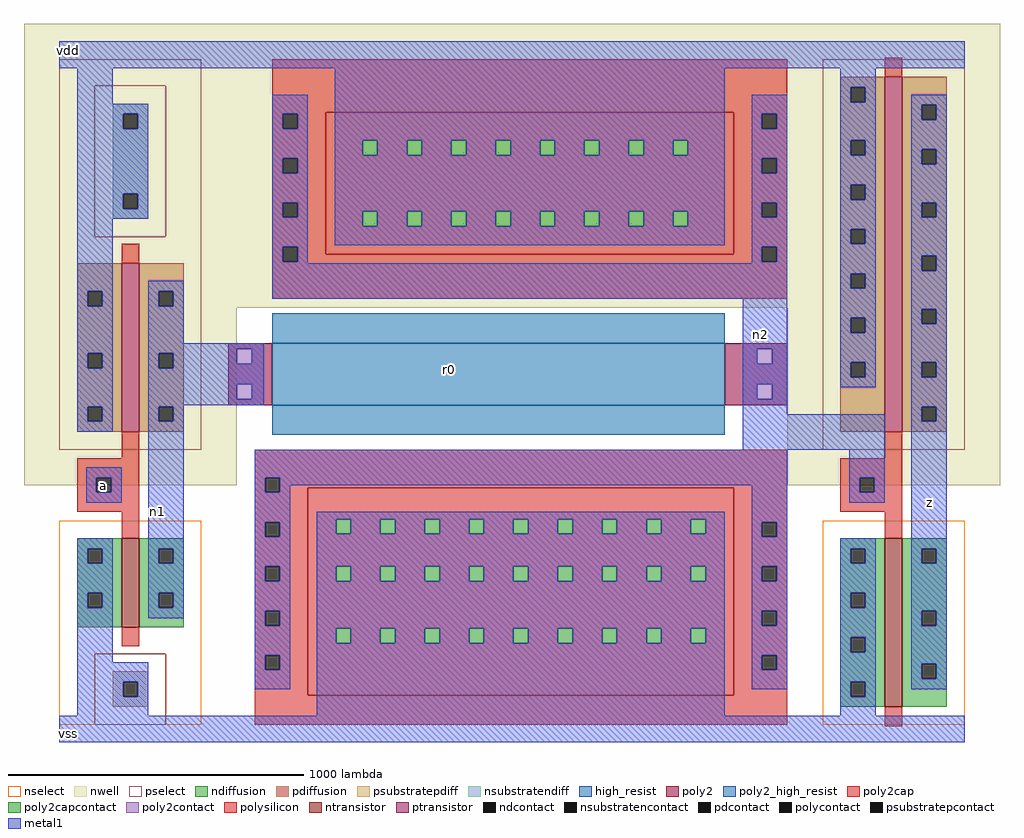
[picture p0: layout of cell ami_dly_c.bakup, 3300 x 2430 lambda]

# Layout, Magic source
magic
tech amic5n
<< nwell >>
rect -120 1470 3180 2430
rect -120 870 600 1470
rect 2460 870 3180 1470
<< ntransistor >>
rect 210 390 270 690
rect 2790 120 2850 690
<< ptransistor >>
rect 210 1050 270 1620
rect 2790 1050 2850 2250
<< nselect >>
rect 120 1710 360 2220
rect 0 300 480 750
rect 0 60 120 300
rect 360 60 480 300
rect 2580 60 3060 750
<< pselect >>
rect 0 2220 480 2310
rect 0 1710 120 2220
rect 360 1710 480 2220
rect 0 990 480 1710
rect 2580 990 3060 2310
rect 120 60 360 300
<< ndiffusion >>
rect 60 655 210 690
rect 60 605 95 655
rect 145 605 210 655
rect 60 505 210 605
rect 60 455 95 505
rect 145 455 210 505
rect 60 390 210 455
rect 270 655 420 690
rect 270 605 335 655
rect 385 605 420 655
rect 270 505 420 605
rect 270 455 335 505
rect 385 455 420 505
rect 270 390 420 455
rect 2640 655 2790 690
rect 2640 605 2675 655
rect 2725 605 2790 655
rect 2640 505 2790 605
rect 2640 455 2675 505
rect 2725 455 2790 505
rect 2640 355 2790 455
rect 2640 305 2675 355
rect 2725 305 2790 355
rect 2640 205 2790 305
rect 2640 155 2675 205
rect 2725 155 2790 205
rect 2640 120 2790 155
rect 2850 655 3000 690
rect 2850 605 2915 655
rect 2965 605 3000 655
rect 2850 445 3000 605
rect 2850 395 2915 445
rect 2965 395 3000 445
rect 2850 265 3000 395
rect 2850 215 2915 265
rect 2965 215 3000 265
rect 2850 120 3000 215
<< pdiffusion >>
rect 60 1525 210 1620
rect 60 1475 95 1525
rect 145 1475 210 1525
rect 60 1315 210 1475
rect 60 1265 95 1315
rect 145 1265 210 1315
rect 60 1135 210 1265
rect 60 1085 95 1135
rect 145 1085 210 1135
rect 60 1050 210 1085
rect 270 1525 420 1620
rect 270 1475 335 1525
rect 385 1475 420 1525
rect 2640 2215 2790 2250
rect 2640 2165 2675 2215
rect 2725 2165 2790 2215
rect 2640 2035 2790 2165
rect 2640 1985 2675 2035
rect 2725 1985 2790 2035
rect 2640 1885 2790 1985
rect 2640 1835 2675 1885
rect 2725 1835 2790 1885
rect 2640 1735 2790 1835
rect 2640 1685 2675 1735
rect 2725 1685 2790 1735
rect 2640 1585 2790 1685
rect 2640 1535 2675 1585
rect 2725 1535 2790 1585
rect 270 1315 420 1475
rect 2640 1435 2790 1535
rect 2640 1385 2675 1435
rect 2725 1385 2790 1435
rect 270 1265 335 1315
rect 385 1265 420 1315
rect 270 1135 420 1265
rect 2640 1285 2790 1385
rect 2640 1235 2675 1285
rect 2725 1235 2790 1285
rect 270 1085 335 1135
rect 385 1085 420 1135
rect 270 1050 420 1085
rect 2640 1050 2790 1235
rect 2850 2155 3000 2250
rect 2850 2105 2915 2155
rect 2965 2105 3000 2155
rect 2850 2005 3000 2105
rect 2850 1955 2915 2005
rect 2965 1955 3000 2005
rect 2850 1825 3000 1955
rect 2850 1775 2915 1825
rect 2965 1775 3000 1825
rect 2850 1645 3000 1775
rect 2850 1595 2915 1645
rect 2965 1595 3000 1645
rect 2850 1465 3000 1595
rect 2850 1415 2915 1465
rect 2965 1415 3000 1465
rect 2850 1285 3000 1415
rect 2850 1235 2915 1285
rect 2965 1235 3000 1285
rect 2850 1135 3000 1235
rect 2850 1085 2915 1135
rect 2965 1085 3000 1135
rect 2850 1050 3000 1085
<< psubstratepdiff >>
rect 180 205 300 240
rect 180 155 215 205
rect 265 155 300 205
rect 180 120 300 155
<< nsubstratendiff >>
rect 180 2125 300 2160
rect 180 2075 215 2125
rect 265 2075 300 2125
rect 180 1855 300 2075
rect 180 1805 215 1855
rect 265 1805 300 1855
rect 180 1770 300 1805
<< nsubstratencontact >>
rect 215 2075 265 2125
rect 215 1805 265 1855
<< psubstratepcontact >>
rect 215 155 265 205
<< ndcontact >>
rect 95 605 145 655
rect 95 455 145 505
rect 335 605 385 655
rect 335 455 385 505
rect 2675 605 2725 655
rect 2675 455 2725 505
rect 2675 305 2725 355
rect 2675 155 2725 205
rect 2915 605 2965 655
rect 2915 395 2965 445
rect 2915 215 2965 265
<< pdcontact >>
rect 95 1475 145 1525
rect 95 1265 145 1315
rect 95 1085 145 1135
rect 335 1475 385 1525
rect 2675 2165 2725 2215
rect 2675 1985 2725 2035
rect 2675 1835 2725 1885
rect 2675 1685 2725 1735
rect 2675 1535 2725 1585
rect 2675 1385 2725 1435
rect 335 1265 385 1315
rect 2675 1235 2725 1285
rect 335 1085 385 1135
rect 2915 2105 2965 2155
rect 2915 1955 2965 2005
rect 2915 1775 2965 1825
rect 2915 1595 2965 1645
rect 2915 1415 2965 1465
rect 2915 1235 2965 1285
rect 2915 1085 2965 1135
<< polysilicon >>
rect 720 2130 2460 2310
rect 2790 2250 2850 2315
rect 720 2125 900 2130
rect 720 2075 755 2125
rect 805 2075 900 2125
rect 720 1975 900 2075
rect 2280 2125 2460 2130
rect 2280 2075 2375 2125
rect 2425 2075 2460 2125
rect 720 1925 755 1975
rect 805 1925 900 1975
rect 720 1825 900 1925
rect 720 1775 755 1825
rect 805 1775 900 1825
rect 2280 1975 2460 2075
rect 2280 1925 2375 1975
rect 2425 1925 2460 1975
rect 2280 1825 2460 1925
rect 210 1620 270 1685
rect 720 1675 900 1775
rect 2280 1775 2375 1825
rect 2425 1775 2460 1825
rect 720 1625 755 1675
rect 805 1650 900 1675
rect 2280 1675 2460 1775
rect 2280 1650 2375 1675
rect 805 1625 2375 1650
rect 2425 1625 2460 1675
rect 720 1500 2460 1625
rect 210 960 270 1050
rect 60 895 270 960
rect 60 845 125 895
rect 175 845 270 895
rect 60 780 270 845
rect 210 690 270 780
rect 660 895 2460 990
rect 2790 960 2850 1050
rect 660 845 695 895
rect 745 860 2460 895
rect 745 845 840 860
rect 660 745 840 845
rect 660 695 695 745
rect 745 695 840 745
rect 2280 745 2460 860
rect 2640 895 2850 960
rect 2640 845 2705 895
rect 2755 845 2850 895
rect 2640 780 2850 845
rect 660 595 840 695
rect 2280 695 2375 745
rect 2425 695 2460 745
rect 2280 595 2460 695
rect 2790 690 2850 780
rect 660 545 695 595
rect 745 545 840 595
rect 2280 545 2375 595
rect 2425 545 2460 595
rect 660 445 840 545
rect 660 395 695 445
rect 745 395 840 445
rect 210 325 270 390
rect 660 295 840 395
rect 2280 445 2460 545
rect 2280 395 2375 445
rect 2425 395 2460 445
rect 660 245 695 295
rect 745 245 840 295
rect 660 160 840 245
rect 2280 295 2460 395
rect 2280 245 2375 295
rect 2425 245 2460 295
rect 2280 160 2460 245
rect 660 60 2460 160
rect 2790 55 2850 120
<< polycontact >>
rect 755 2075 805 2125
rect 2375 2075 2425 2125
rect 755 1925 805 1975
rect 755 1775 805 1825
rect 2375 1925 2425 1975
rect 2375 1775 2425 1825
rect 755 1625 805 1675
rect 2375 1625 2425 1675
rect 125 845 175 895
rect 695 845 745 895
rect 695 695 745 745
rect 2705 845 2755 895
rect 2375 695 2425 745
rect 695 545 745 595
rect 2375 545 2425 595
rect 695 395 745 445
rect 2375 395 2425 445
rect 695 245 745 295
rect 2375 245 2425 295
<< poly2 >>
rect 570 1330 720 1350
rect 570 1280 600 1330
rect 650 1280 720 1330
rect 570 1210 720 1280
rect 570 1160 600 1210
rect 650 1160 720 1210
rect 570 1140 720 1160
rect 2250 1330 2460 1350
rect 2250 1280 2360 1330
rect 2410 1280 2460 1330
rect 2250 1210 2460 1280
rect 2250 1160 2360 1210
rect 2410 1160 2460 1210
rect 2250 1140 2460 1160
<< poly2cap >>
rect 900 2035 2280 2130
rect 900 1985 1025 2035
rect 1075 1985 1175 2035
rect 1225 1985 1325 2035
rect 1375 1985 1475 2035
rect 1525 1985 1625 2035
rect 1675 1985 1775 2035
rect 1825 1985 1925 2035
rect 1975 1985 2075 2035
rect 2125 1985 2280 2035
rect 900 1795 2280 1985
rect 900 1745 1025 1795
rect 1075 1745 1175 1795
rect 1225 1745 1325 1795
rect 1375 1745 1475 1795
rect 1525 1745 1625 1795
rect 1675 1745 1775 1795
rect 1825 1745 1925 1795
rect 1975 1745 2075 1795
rect 2125 1745 2280 1795
rect 900 1650 2280 1745
rect 840 755 2280 860
rect 840 705 935 755
rect 985 705 1085 755
rect 1135 705 1235 755
rect 1285 705 1385 755
rect 1435 705 1535 755
rect 1585 705 1685 755
rect 1735 705 1835 755
rect 1885 705 1985 755
rect 2035 705 2135 755
rect 2185 705 2280 755
rect 840 595 2280 705
rect 840 545 935 595
rect 985 545 1085 595
rect 1135 545 1235 595
rect 1285 545 1385 595
rect 1435 545 1535 595
rect 1585 545 1685 595
rect 1735 545 1835 595
rect 1885 545 1985 595
rect 2035 545 2135 595
rect 2185 545 2280 595
rect 840 385 2280 545
rect 840 335 935 385
rect 985 335 1085 385
rect 1135 335 1235 385
rect 1285 335 1385 385
rect 1435 335 1535 385
rect 1585 335 1685 385
rect 1735 335 1835 385
rect 1885 335 1985 385
rect 2035 335 2135 385
rect 2185 335 2280 385
rect 840 160 2280 335
<< high_resist >>
rect 720 1350 2250 1450
rect 720 1040 2250 1140
<< poly2_high_resist >>
rect 720 1140 2250 1350
<< poly2contact >>
rect 600 1280 650 1330
rect 600 1160 650 1210
rect 2360 1280 2410 1330
rect 2360 1160 2410 1210
<< poly2capcontact >>
rect 1025 1985 1075 2035
rect 1175 1985 1225 2035
rect 1325 1985 1375 2035
rect 1475 1985 1525 2035
rect 1625 1985 1675 2035
rect 1775 1985 1825 2035
rect 1925 1985 1975 2035
rect 2075 1985 2125 2035
rect 1025 1745 1075 1795
rect 1175 1745 1225 1795
rect 1325 1745 1375 1795
rect 1475 1745 1525 1795
rect 1625 1745 1675 1795
rect 1775 1745 1825 1795
rect 1925 1745 1975 1795
rect 2075 1745 2125 1795
rect 935 705 985 755
rect 1085 705 1135 755
rect 1235 705 1285 755
rect 1385 705 1435 755
rect 1535 705 1585 755
rect 1685 705 1735 755
rect 1835 705 1885 755
rect 1985 705 2035 755
rect 2135 705 2185 755
rect 935 545 985 595
rect 1085 545 1135 595
rect 1235 545 1285 595
rect 1385 545 1435 595
rect 1535 545 1585 595
rect 1685 545 1735 595
rect 1835 545 1885 595
rect 1985 545 2035 595
rect 2135 545 2185 595
rect 935 335 985 385
rect 1085 335 1135 385
rect 1235 335 1285 385
rect 1385 335 1435 385
rect 1535 335 1585 385
rect 1685 335 1735 385
rect 1835 335 1885 385
rect 1985 335 2035 385
rect 2135 335 2185 385
<< metal1 >>
rect 0 2280 3060 2370
rect 60 2160 180 2280
rect 60 2125 300 2160
rect 60 2075 215 2125
rect 265 2075 300 2125
rect 60 1855 300 2075
rect 60 1805 215 1855
rect 265 1805 300 1855
rect 60 1770 300 1805
rect 720 2125 840 2190
rect 720 2075 755 2125
rect 805 2075 840 2125
rect 720 1975 840 2075
rect 720 1925 755 1975
rect 805 1925 840 1975
rect 720 1825 840 1925
rect 720 1775 755 1825
rect 805 1775 840 1825
rect 60 1525 180 1770
rect 720 1675 840 1775
rect 930 2035 2250 2280
rect 2640 2215 2760 2280
rect 930 1985 1025 2035
rect 1075 1985 1175 2035
rect 1225 1985 1325 2035
rect 1375 1985 1475 2035
rect 1525 1985 1625 2035
rect 1675 1985 1775 2035
rect 1825 1985 1925 2035
rect 1975 1985 2075 2035
rect 2125 1985 2250 2035
rect 930 1795 2250 1985
rect 930 1745 1025 1795
rect 1075 1745 1175 1795
rect 1225 1745 1325 1795
rect 1375 1745 1475 1795
rect 1525 1745 1625 1795
rect 1675 1745 1775 1795
rect 1825 1745 1925 1795
rect 1975 1745 2075 1795
rect 2125 1745 2250 1795
rect 930 1680 2250 1745
rect 2340 2125 2460 2190
rect 2340 2075 2375 2125
rect 2425 2075 2460 2125
rect 2340 1975 2460 2075
rect 2340 1925 2375 1975
rect 2425 1925 2460 1975
rect 2340 1825 2460 1925
rect 2340 1775 2375 1825
rect 2425 1775 2460 1825
rect 720 1625 755 1675
rect 805 1625 840 1675
rect 720 1620 840 1625
rect 2340 1675 2460 1775
rect 2340 1625 2375 1675
rect 2425 1625 2460 1675
rect 2340 1620 2460 1625
rect 60 1475 95 1525
rect 145 1475 180 1525
rect 60 1315 180 1475
rect 60 1265 95 1315
rect 145 1265 180 1315
rect 60 1135 180 1265
rect 60 1085 95 1135
rect 145 1085 180 1135
rect 60 1050 180 1085
rect 300 1525 420 1560
rect 300 1475 335 1525
rect 385 1475 420 1525
rect 720 1500 2460 1620
rect 300 1350 420 1475
rect 300 1330 690 1350
rect 300 1315 600 1330
rect 300 1265 335 1315
rect 385 1280 600 1315
rect 650 1280 690 1330
rect 385 1265 690 1280
rect 300 1210 690 1265
rect 300 1160 600 1210
rect 650 1160 690 1210
rect 300 1140 690 1160
rect 2310 1330 2460 1500
rect 2310 1280 2360 1330
rect 2410 1280 2460 1330
rect 2310 1210 2460 1280
rect 2310 1160 2360 1210
rect 2410 1160 2460 1210
rect 2640 2165 2675 2215
rect 2725 2165 2760 2215
rect 2640 2035 2760 2165
rect 2640 1985 2675 2035
rect 2725 1985 2760 2035
rect 2640 1885 2760 1985
rect 2640 1835 2675 1885
rect 2725 1835 2760 1885
rect 2640 1735 2760 1835
rect 2640 1685 2675 1735
rect 2725 1685 2760 1735
rect 2640 1585 2760 1685
rect 2640 1535 2675 1585
rect 2725 1535 2760 1585
rect 2640 1435 2760 1535
rect 2640 1385 2675 1435
rect 2725 1385 2760 1435
rect 2640 1285 2760 1385
rect 2640 1235 2675 1285
rect 2725 1235 2760 1285
rect 2640 1200 2760 1235
rect 2880 2155 3000 2190
rect 2880 2105 2915 2155
rect 2965 2105 3000 2155
rect 2880 2005 3000 2105
rect 2880 1955 2915 2005
rect 2965 1955 3000 2005
rect 2880 1825 3000 1955
rect 2880 1775 2915 1825
rect 2965 1775 3000 1825
rect 2880 1645 3000 1775
rect 2880 1595 2915 1645
rect 2965 1595 3000 1645
rect 2880 1465 3000 1595
rect 2880 1415 2915 1465
rect 2965 1415 3000 1465
rect 2880 1285 3000 1415
rect 2880 1235 2915 1285
rect 2965 1235 3000 1285
rect 300 1135 420 1140
rect 300 1085 335 1135
rect 385 1085 420 1135
rect 90 895 210 930
rect 90 845 125 895
rect 175 845 210 895
rect 90 810 210 845
rect 60 655 180 690
rect 60 605 95 655
rect 145 605 180 655
rect 60 505 180 605
rect 60 455 95 505
rect 145 455 180 505
rect 60 270 180 455
rect 300 655 420 1085
rect 2310 1110 2460 1160
rect 2880 1135 3000 1235
rect 2310 990 2790 1110
rect 300 605 335 655
rect 385 605 420 655
rect 300 505 420 605
rect 300 455 335 505
rect 385 455 420 505
rect 300 420 420 455
rect 660 895 2460 990
rect 660 845 695 895
rect 745 870 2460 895
rect 745 845 780 870
rect 660 745 780 845
rect 660 695 695 745
rect 745 695 780 745
rect 660 595 780 695
rect 660 545 695 595
rect 745 545 780 595
rect 660 445 780 545
rect 660 395 695 445
rect 745 395 780 445
rect 660 295 780 395
rect 60 205 300 270
rect 60 155 215 205
rect 265 155 300 205
rect 660 245 695 295
rect 745 245 780 295
rect 660 180 780 245
rect 870 755 2250 780
rect 870 705 935 755
rect 985 705 1085 755
rect 1135 705 1235 755
rect 1285 705 1385 755
rect 1435 705 1535 755
rect 1585 705 1685 755
rect 1735 705 1835 755
rect 1885 705 1985 755
rect 2035 705 2135 755
rect 2185 705 2250 755
rect 870 595 2250 705
rect 870 545 935 595
rect 985 545 1085 595
rect 1135 545 1235 595
rect 1285 545 1385 595
rect 1435 545 1535 595
rect 1585 545 1685 595
rect 1735 545 1835 595
rect 1885 545 1985 595
rect 2035 545 2135 595
rect 2185 545 2250 595
rect 870 385 2250 545
rect 870 335 935 385
rect 985 335 1085 385
rect 1135 335 1235 385
rect 1285 335 1385 385
rect 1435 335 1535 385
rect 1585 335 1685 385
rect 1735 335 1835 385
rect 1885 335 1985 385
rect 2035 335 2135 385
rect 2185 335 2250 385
rect 60 90 300 155
rect 870 90 2250 335
rect 2340 745 2460 870
rect 2670 895 2790 990
rect 2670 845 2705 895
rect 2755 845 2790 895
rect 2670 810 2790 845
rect 2880 1085 2915 1135
rect 2965 1085 3000 1135
rect 2340 695 2375 745
rect 2425 695 2460 745
rect 2340 595 2460 695
rect 2340 545 2375 595
rect 2425 545 2460 595
rect 2340 445 2460 545
rect 2340 395 2375 445
rect 2425 395 2460 445
rect 2340 295 2460 395
rect 2340 245 2375 295
rect 2425 245 2460 295
rect 2340 180 2460 245
rect 2640 655 2760 690
rect 2640 605 2675 655
rect 2725 605 2760 655
rect 2640 505 2760 605
rect 2640 455 2675 505
rect 2725 455 2760 505
rect 2640 355 2760 455
rect 2640 305 2675 355
rect 2725 305 2760 355
rect 2640 205 2760 305
rect 2640 155 2675 205
rect 2725 155 2760 205
rect 2880 655 3000 1085
rect 2880 605 2915 655
rect 2965 605 3000 655
rect 2880 445 3000 605
rect 2880 395 2915 445
rect 2965 395 3000 445
rect 2880 265 3000 395
rect 2880 215 2915 265
rect 2965 215 3000 265
rect 2880 180 3000 215
rect 2640 90 2760 155
rect 0 0 3060 90
<< labels >>
flabel metal1 s 330 780 330 780 2 FreeSans 400 0 0 0 n1
flabel metal1 s 150 870 150 870 2 FreeSans 400 0 0 0 a
port 2 ne
flabel metal1 s 30 2340 30 2340 2 FreeSans 400 0 0 0 vdd
port 3 ne
flabel metal1 s 30 30 30 30 2 FreeSans 400 0 0 0 vss
port 4 ne
flabel metal1 s 2940 810 2940 810 2 FreeSans 400 0 0 0 z
port 1 ne
flabel poly2_high_resist s 1320 1260 1320 1260 2 FreeSans 400 0 0 0 r0
flabel metal1 s 2370 1380 2370 1380 2 FreeSans 400 0 0 0 n2
<< end >>
